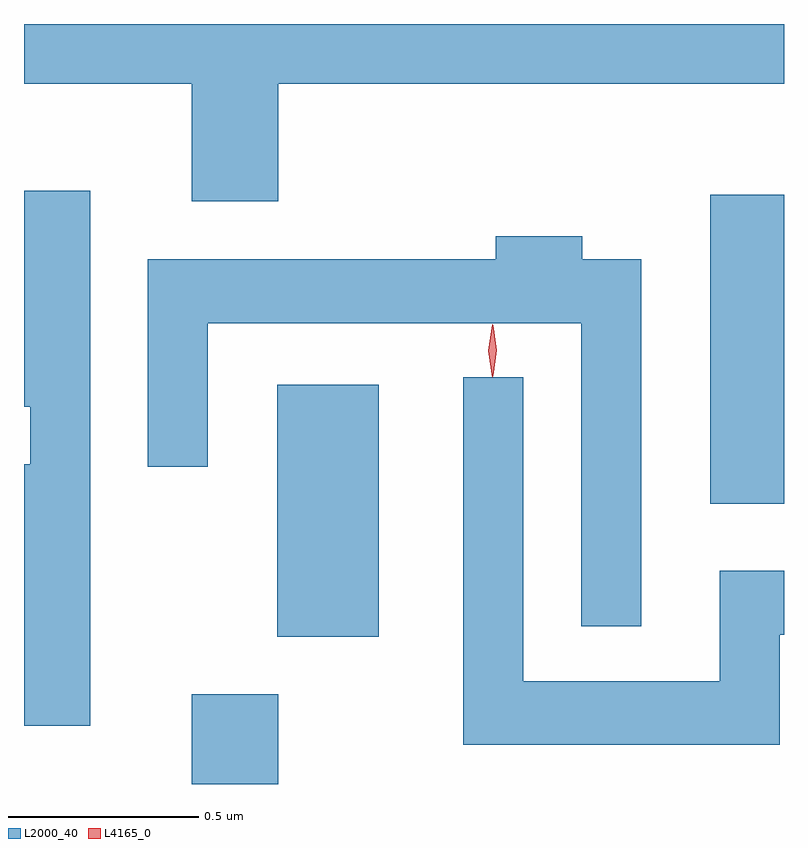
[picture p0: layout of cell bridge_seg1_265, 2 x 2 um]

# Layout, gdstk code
import gdstk
lib = gdstk.Library(unit=1e-6, precision=1e-09)
def R(c, l, rs):  # rectangles x0, y0, x1, y1
    for r in rs: c.add(gdstk.rectangle(r[:2], r[2:], *l))
def P(c, l, *ps):  # polygons
    for p in ps: c.add(gdstk.Polygon(p, *l))
L2000_40 = (2000, 40)
L4165_0 = (4165, 0)

bridge_seg1_265 = lib.new_cell('bridge_seg1_265')
R(bridge_seg1_265, L2000_40, [(958.741,897.733,958.969,897.969), (958.966,898.121,959.234,898.784), (960.106,898.471,960.3,899.284)])
P(bridge_seg1_265, L2000_40, [(958.969,899.576),(960.3,899.576),(960.3,899.733),(958.3,899.733),(958.3,899.576),(958.741,899.576),(958.741,899.266),(958.969,899.266)],
  [(958.474,899.294),(958.3,899.294),(958.3,898.726),(958.316,898.726),(958.316,898.574),(958.3,898.574),(958.3,897.886),(958.474,897.886)],
  [(959.924,899.114),(959.769,899.114),(959.769,899.174),(959.541,899.174),(959.541,899.114),(958.626,899.114),(958.626,898.568),(958.784,898.568),(958.784,898.946),(959.766,898.946),(959.766,898.148),(959.924,898.148)],
  [(960.289,898.126),(960.3,898.126),(960.3,898.294),(960.131,898.294),(960.131,898.004),(959.614,898.004),(959.614,898.803),(959.456,898.803),(959.456,897.836),(960.289,897.836)])
P(bridge_seg1_265, L4165_0, [(959.532,898.803),(959.532,898.804),(959.522,898.873),(959.532,898.942),(959.532,898.943),(959.533,898.942),(959.542,898.873),(959.533,898.804)],
  [(959.534,898.807),(959.525,898.874),(959.534,898.94),(959.534,898.94),(959.535,898.94),(959.544,898.874),(959.535,898.807),(959.535,898.807)])

lib.write_gds('bridge_seg1_265.gds')
